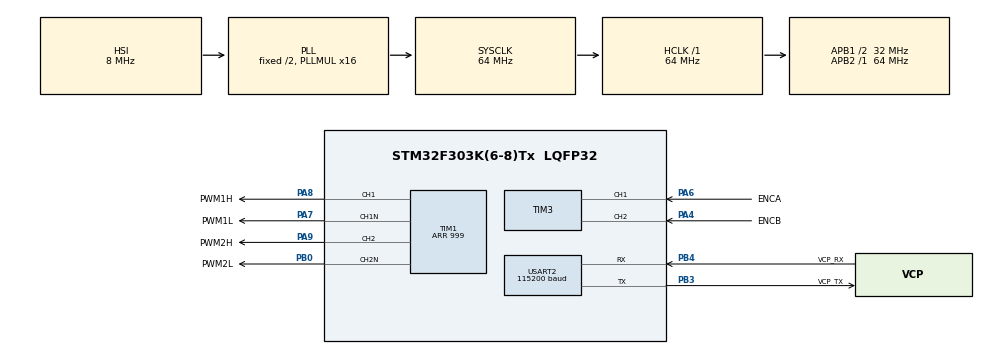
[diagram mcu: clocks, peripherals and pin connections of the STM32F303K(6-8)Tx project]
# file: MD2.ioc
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Mcu.Family=STM32F3
Mcu.Name=STM32F303K(6-8)Tx
Mcu.Package=LQFP32
NVIC.PriorityGroup=NVIC_PRIORITYGROUP_4
NVIC.TIM6_DAC1_IRQn=true\:0\:0\:false\:false\:true\:true\:true\:true
NVIC.USART2_IRQn=true\:0\:0\:false\:false\:true\:true\:true\:true
PA13.GPIO_Label=SWDIO
PA13.Mode=Serial_Wire
PA13.Signal=SYS_JTMS-SWDIO
PA14.GPIO_Label=SWCLK
PA14.Mode=Serial_Wire
PA14.Signal=SYS_JTCK-SWCLK
PA4.GPIO_Label=ENCB
PA4.GPIO_Speed=GPIO_SPEED_FREQ_LOW
PA4.Signal=S_TIM3_CH2
PA6.GPIO_Label=ENCA
PA6.Signal=S_TIM3_CH1
PA7.GPIO_Label=PWM1L
PA7.GPIO_Speed=GPIO_SPEED_FREQ_HIGH
PA7.Mode=PWM Generation1 CH1 CH1N
PA7.Signal=TIM1_CH1N
PA8.GPIO_Label=PWM1H
PA8.GPIO_Speed=GPIO_SPEED_FREQ_HIGH
PA8.Signal=S_TIM1_CH1
PA9.GPIO_Label=PWM2H
PA9.GPIO_Speed=GPIO_SPEED_FREQ_HIGH
PA9.Signal=S_TIM1_CH2
PB0.GPIO_Label=PWM2L
PB0.GPIO_Speed=GPIO_SPEED_FREQ_HIGH
PB0.Mode=PWM Generation2 CH2 CH2N
PB0.Signal=TIM1_CH2N
PB3.GPIO_Label=VCP_TX
PB3.Mode=Asynchronous
PB3.Signal=USART2_TX
PB4.GPIO_Label=VCP_RX
PB4.Mode=Asynchronous
PB4.Signal=USART2_RX
PF0\ /\ OSC_IN.GPIO_Label=MCO
PF0\ /\ OSC_IN.Mode=HSE-External-Clock-Source
PF0\ /\ OSC_IN.Signal=RCC_OSC_IN
ProjectManager.HeapSize=0x200
ProjectManager.StackSize=0x400
ProjectManager.TargetToolchain=STM32CubeIDE
RCC.AHBFreq_Value=64000000
RCC.APB1CLKDivider=RCC_HCLK_DIV2
RCC.APB1Freq_Value=32000000
RCC.APB1TimFreq_Value=64000000
RCC.APB2Freq_Value=64000000
RCC.APB2TimFreq_Value=64000000
RCC.CortexFreq_Value=64000000
RCC.HCLKFreq_Value=64000000
RCC.HSE_VALUE=8000000
RCC.HSI_VALUE=8000000
RCC.PLLMUL=RCC_PLL_MUL16
RCC.SYSCLKFreq_VALUE=64000000
RCC.SYSCLKSourceVirtual=RCC_SYSCLKSOURCE_PLLCLK
RCC.TIM1Selection=RCC_TIM1CLK_PLLCLK
SH.S_TIM1_CH1.0=TIM1_CH1,PWM Generation1 CH1 CH1N
SH.S_TIM1_CH2.0=TIM1_CH2,PWM Generation2 CH2 CH2N
SH.S_TIM3_CH1.0=TIM3_CH1,Encoder_Interface
SH.S_TIM3_CH2.0=TIM3_CH2,Encoder_Interface
TIM1.Channel-PWM\ Generation1\ CH1\ CH1N=TIM_CHANNEL_1
TIM1.Channel-PWM\ Generation2\ CH2\ CH2N=TIM_CHANNEL_2
TIM1.DeadTime=64
TIM1.Period=999
TIM3.EncoderMode=TIM_ENCODERMODE_TI12
TIM6.Period=999
TIM6.Prescaler=63
TIM7.Prescaler=63
USART2.BaudRate=115200
USART2.VirtualMode-Asynchronous=VM_ASYNC
VP_TIM6_VS_ClockSourceINT.Mode=Enable_Timer
VP_TIM7_VS_ClockSourceINT.Mode=Enable_Timer
board=NUCLEO-F303K8

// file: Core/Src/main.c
/* USER CODE BEGIN Header */
/**
  ******************************************************************************
  * @file           : main.c
  * @brief          : Main program body
  ******************************************************************************
  * @attention
  *
  * Copyright (c) 2023 STMicroelectronics.
  * All rights reserved.
  *
  * This software is licensed under terms that can be found in the LICENSE file
  * in the root directory of this software component.
  * If no LICENSE file comes with this software, it is provided AS-IS.
  *
  ******************************************************************************
  */
/* USER CODE END Header */
#include "main.h"
#include "tim.h"
#include "usart.h"
#include "gpio.h"

/* USER CODE BEGIN Includes */
#include "math.h"
#include "stdio.h"

/* USER CODE END Includes */

/* USER CODE BEGIN PV */
uint8_t rxData[4] = {0};
uint16_t dt;
float omega;
float ref = 0.0f;

/* USER CODE END PV */

void SystemClock_Config(void);
/* USER CODE BEGIN PFP */
void setMotor(int);
float PID(float, float);

/* USER CODE END PFP */

int main(void)
{
  /* USER CODE BEGIN 1 */
	setbuf(stdout, NULL);

  /* USER CODE END 1 */

  /* MCU Configuration--------------------------------------------------------*/

  /* Reset of all peripherals, Initializes the Flash interface and the Systick. */
  HAL_Init();

  /* Configure the system clock */
  SystemClock_Config();

  /* Initialize all configured peripherals */
  MX_GPIO_Init();
  MX_USART2_UART_Init();
  MX_TIM1_Init();
  MX_TIM6_Init();
  MX_TIM7_Init();
  MX_TIM3_Init();
  /* USER CODE BEGIN 2 */
  LL_USART_EnableIT_RXNE(USART2);

  LL_TIM_EnableCounter(TIM1);
  LL_TIM_CC_EnableChannel(TIM1, LL_TIM_CHANNEL_CH1);
  LL_TIM_CC_EnableChannel(TIM1, LL_TIM_CHANNEL_CH1N);
  LL_TIM_CC_EnableChannel(TIM1, LL_TIM_CHANNEL_CH2);
  LL_TIM_CC_EnableChannel(TIM1, LL_TIM_CHANNEL_CH2N);
  LL_TIM_EnableAllOutputs(TIM1);
  LL_TIM_OC_SetCompareCH1(TIM1, 0);
  LL_TIM_OC_SetCompareCH2(TIM1, 0);

  LL_TIM_EnableCounter(TIM3);

  LL_TIM_EnableIT_UPDATE(TIM6);
  LL_TIM_EnableCounter(TIM6);

  LL_TIM_EnableCounter(TIM7);

  /* USER CODE END 2 */

  /* Infinite loop */
  while (1)
  {

  }
}

void SystemClock_Config(void)
{
  RCC_OscInitTypeDef RCC_OscInitStruct = {0};
  RCC_ClkInitTypeDef RCC_ClkInitStruct = {0};
  RCC_PeriphCLKInitTypeDef PeriphClkInit = {0};

  /** Initializes the RCC Oscillators according to the specified parameters
  * in the RCC_OscInitTypeDef structure.
  */
  RCC_OscInitStruct.OscillatorType = RCC_OSCILLATORTYPE_HSI;
  RCC_OscInitStruct.HSIState = RCC_HSI_ON;
  RCC_OscInitStruct.HSICalibrationValue = RCC_HSICALIBRATION_DEFAULT;
  RCC_OscInitStruct.PLL.PLLState = RCC_PLL_ON;
  RCC_OscInitStruct.PLL.PLLSource = RCC_PLLSOURCE_HSI;
  RCC_OscInitStruct.PLL.PLLMUL = RCC_PLL_MUL16;
  if (HAL_RCC_OscConfig(&RCC_OscInitStruct) != HAL_OK)
  {
    Error_Handler();
  }

  /** Initializes the CPU, AHB and APB buses clocks
  */
  RCC_ClkInitStruct.ClockType = RCC_CLOCKTYPE_HCLK|RCC_CLOCKTYPE_SYSCLK
                              |RCC_CLOCKTYPE_PCLK1|RCC_CLOCKTYPE_PCLK2;
  RCC_ClkInitStruct.SYSCLKSource = RCC_SYSCLKSOURCE_PLLCLK;
  RCC_ClkInitStruct.AHBCLKDivider = RCC_SYSCLK_DIV1;
  RCC_ClkInitStruct.APB1CLKDivider = RCC_HCLK_DIV2;
  RCC_ClkInitStruct.APB2CLKDivider = RCC_HCLK_DIV1;

  if (HAL_RCC_ClockConfig(&RCC_ClkInitStruct, FLASH_LATENCY_2) != HAL_OK)
  {
    Error_Handler();
  }
  PeriphClkInit.PeriphClockSelection = RCC_PERIPHCLK_TIM1;
  PeriphClkInit.Tim1ClockSelection = RCC_TIM1CLK_PLLCLK;
  if (HAL_RCCEx_PeriphCLKConfig(&PeriphClkInit) != HAL_OK)
  {
    Error_Handler();
  }
}

/* USER CODE BEGIN 4 */
void __io_putchar(uint8_t c) {
	LL_USART_TransmitData8(USART2, c);
	while (LL_USART_IsActiveFlag_TXE(USART2) == 0);
}

/**
 * @brief 制御器
 * @note 制御周期はプリスケーラとカウンタピリオドの値に依存
 */
void controller()
{
	const float T_ctrl = 0.001f;
	const float PPR = 2048.0f;
	const float CPR = PPR * 4;

	int16_t count = -LL_TIM_GetCounter(TIM3);
	LL_TIM_SetCounter(TIM3, 0);
	omega = (float)count / T_ctrl / CPR * 2 * M_PI;
	setMotor((int)PID(omega, ref));
}

/**
 * @brief PID制御器
 * @param input 入力値
 * @param target 目標値
 * @return 操作量
 */
float PID(float input, float target)
{
    const float K_p = 1.08717133443287f;
    const float K_i = 0.05749282f;
    const float K_d = 0.0f;

    static float error;
    static float ierror;
    static float derror;
    static float output;

    error = target - input;
    derror = error - derror;

    output = K_p * error + K_i * ierror + K_d * derror;

    ierror += error;
    derror = error;

    return output;
}

/**
 * @brief あ
 * @param hoge
 */
void setMotor(int hoge)
{
	if (hoge > 950) {
		hoge = 950;
	} else if(hoge < -950) {
		hoge = -950;
	}

	if (hoge > 0) { // 正転
		LL_TIM_OC_SetCompareCH1(TIM1, hoge);
		LL_TIM_OC_SetCompareCH2(TIM1, 0);
	} else if (hoge < 0) { // 逆転
		LL_TIM_OC_SetCompareCH1(TIM1, 0);
		LL_TIM_OC_SetCompareCH2(TIM1, -hoge);
	} else { // 停止
		LL_TIM_OC_SetCompareCH1(TIM1, 0);
		LL_TIM_OC_SetCompareCH2(TIM1, 0);
	}
}

/* USER CODE END 4 */

void Error_Handler(void)
{
  __disable_irq();
  while (1)
  {
  }
}
